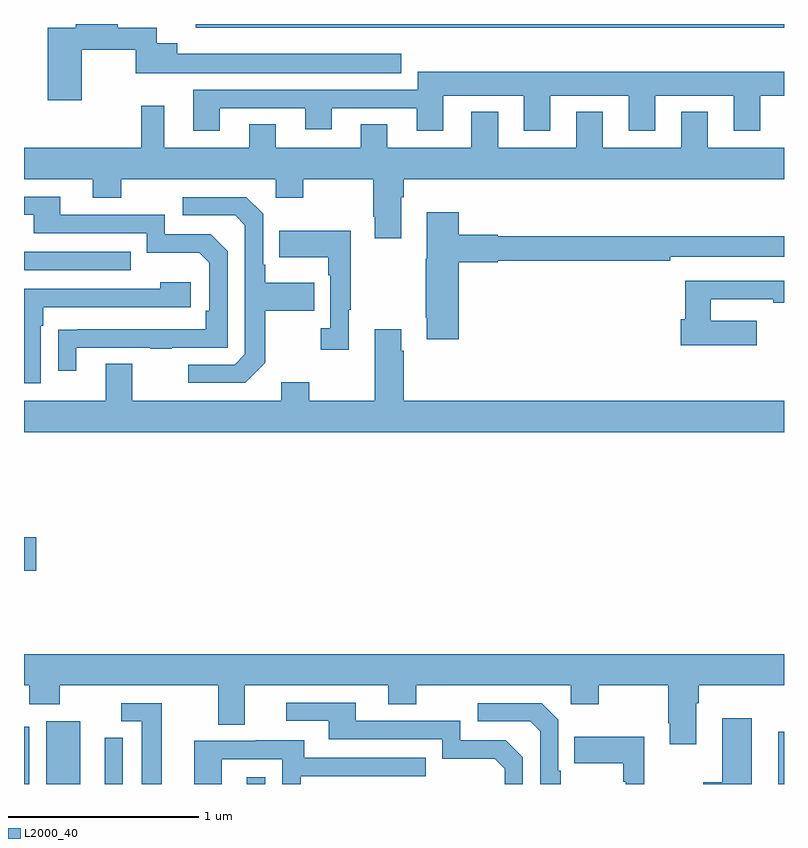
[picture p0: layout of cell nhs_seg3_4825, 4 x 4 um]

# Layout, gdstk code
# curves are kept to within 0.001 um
import gdstk
lib = gdstk.Library(unit=1e-6, precision=1e-09)
def R(c, l, rs):  # rectangles x0, y0, x1, y1
    for r in rs: c.add(gdstk.rectangle(r[:2], r[2:], *l))
def P(c, l, *ps):  # polygons
    for p in ps: c.add(gdstk.Polygon(p, *l))
L2000_40 = (2000, 40)

nhs_seg3_4825 = lib.new_cell('nhs_seg3_4825')
R(nhs_seg3_4825, L2000_40, [(371,696.4,371.028,696.702), (371.117,696.4,371.296,696.73), (372.173,696.4,372.27,696.436), (374.969,696.4,375,696.676), (371,697.522,371.065,697.7), (371,699.105,371.561,699.201), (371.903,700.379,375,700.4)])
P(nhs_seg3_4825, L2000_40, [(371.304,700.264),(371.589,700.264),(371.589,700.142),(372.985,700.142),(372.985,700.243),(371.806,700.243),(371.806,700.3),(371.699,700.3),(371.699,700.38),(371.494,700.38),(371.494,700.4),(371.272,700.4),(371.272,700.38),(371.126,700.38),(371.126,699.999),(371.304,699.999)],
  [(372.031,699.957),(372.479,699.957),(372.479,699.845),(372.619,699.845),(372.619,699.957),(373.067,699.957),(373.067,699.837),(373.207,699.837),(373.207,700.022),(373.631,700.022),(373.631,699.837),(373.771,699.837),(373.771,700.022),(374.183,700.022),(374.183,699.837),(374.323,699.837),(374.323,700.022),(374.735,700.022),(374.735,699.837),(374.875,699.837),(374.875,700.022),(375,700.022),(375,700.15),(373.073,700.15),(373.073,700.053),(371.891,700.053),(371.891,699.837),(372.031,699.837)],
  [(372.985,699.488),(372.998,699.488),(372.998,699.584),(375,699.584),(375,699.748),(374.599,699.748),(374.599,699.937),(374.459,699.937),(374.459,699.748),(374.047,699.748),(374.047,699.937),(373.907,699.937),(373.907,699.748),(373.495,699.748),(373.495,699.937),(373.355,699.937),(373.355,699.748),(372.913,699.748),(372.913,699.872),(372.773,699.872),(372.773,699.748),(372.325,699.748),(372.325,699.872),(372.185,699.872),(372.185,699.748),(371.737,699.748),(371.737,699.97),(371.616,699.97),(371.616,699.748),(371,699.748),(371,699.584),(371.363,699.584),(371.363,699.485),(371.511,699.485),(371.511,699.584),(372.324,699.584),(372.324,699.485),(372.471,699.485),(372.471,699.584),(372.838,699.584),(372.838,699.385),(372.845,699.385),(372.845,699.273),(372.985,699.273)],
  [(371.275,698.697),(371.665,698.697),(371.665,698.692),(371.777,698.692),(371.777,698.697),(372.072,698.697),(372.072,699.204),(371.982,699.294),(371.742,699.294),(371.742,699.396),(371.191,699.396),(371.191,699.492),(371,699.492),(371,699.396),(371.051,699.396),(371.051,699.3),(371.646,699.3),(371.646,699.197),(371.923,699.197),(371.976,699.144),(371.976,698.89),(371.956,698.89),(371.956,698.793),(371.179,698.792),(371.179,698.574),(371.275,698.574)],
  [(372.271,698.617),(372.271,698.89),(372.527,698.89),(372.527,699.037),(372.271,699.037),(372.271,699.133),(372.258,699.133),(372.258,699.402),(372.171,699.489),(371.835,699.489),(371.835,699.393),(372.111,699.393),(372.162,699.342),(372.162,698.661),(372.108,698.607),(371.865,698.607),(371.865,698.511),(372.165,698.511)],
  [(373.289,699.146),(373.494,699.146),(373.494,699.154),(374.402,699.154),(374.402,699.174),(375,699.174),(375,699.283),(373.494,699.283),(373.494,699.291),(373.289,699.291),(373.289,699.409),(373.121,699.409),(373.121,699.165),(373.114,699.165),(373.114,698.854),(373.121,698.854),(373.121,698.742),(373.289,698.742)],
  [(372.709,698.897),(372.721,698.897),(372.721,699.313),(372.343,699.313),(372.343,699.173),(372.6,699.173),(372.6,699.077),(372.612,699.077),(372.612,698.798),(372.561,698.798),(372.561,698.685),(372.709,698.685)],
  [(374.857,698.839),(374.615,698.839),(374.615,698.952),(374.944,698.952),(374.944,698.932),(375,698.932),(375,699.048),(374.479,699.048),(374.479,698.847),(374.456,698.847),(374.456,698.71),(374.857,698.71)],
  [(371.088,698.813),(371.101,698.813),(371.101,698.91),(371.878,698.91),(371.878,699.04),(371.717,699.04),(371.717,699.006),(371,699.006),(371,698.508),(371.088,698.508)],
  [(375,698.416),(372.998,698.416),(372.998,698.681),(372.985,698.681),(372.985,698.794),(372.845,698.794),(372.845,698.416),(372.501,698.416),(372.501,698.515),(372.353,698.515),(372.353,698.416),(371.569,698.416),(371.569,698.611),(371.429,698.611),(371.429,698.416),(371,698.416),(371,698.252),(375,698.252)],
  [(374.539,696.824),(374.552,696.824),(374.552,696.92),(375,696.92),(375,697.084),(371,697.084),(371,696.92),(371.027,696.92),(371.027,696.821),(371.187,696.821),(371.187,696.92),(372.023,696.92),(372.023,696.712),(372.163,696.712),(372.163,696.92),(372.917,696.92),(372.917,696.821),(373.065,696.821),(373.065,696.92),(373.878,696.92),(373.878,696.821),(374.025,696.821),(374.025,696.92),(374.392,696.92),(374.392,696.721),(374.399,696.721),(374.399,696.609),(374.539,696.609)],
  [(373.626,696.54),(373.536,696.63),(373.296,696.63),(373.296,696.732),(372.745,696.732),(372.745,696.828),(372.381,696.828),(372.381,696.732),(372.605,696.732),(372.605,696.636),(373.2,696.636),(373.2,696.533),(373.477,696.533),(373.53,696.48),(373.53,696.4),(373.626,696.4)],
  [(373.825,696.469),(373.812,696.469),(373.812,696.738),(373.725,696.825),(373.389,696.825),(373.389,696.729),(373.665,696.729),(373.716,696.678),(373.716,696.4),(373.825,696.4)],
  [(371.725,696.825),(371.511,696.825),(371.511,696.729),(371.621,696.729),(371.621,696.4),(371.725,696.4)],
  [(374.83,696.745),(374.675,696.745),(374.675,696.41),(374.576,696.41),(374.576,696.4),(374.83,696.4)],
  [(374.264,696.649),(373.897,696.649),(373.897,696.509),(374.154,696.509),(374.154,696.413),(374.166,696.413),(374.166,696.4),(374.264,696.4)],
  [(371.52,696.644),(371.424,696.644),(371.424,696.49),(371.426,696.49),(371.426,696.4),(371.52,696.4)],
  [(372.042,696.531),(372.36,696.531),(372.36,696.4),(372.456,696.4),(372.456,696.441),(373.115,696.441),(373.115,696.537),(372.475,696.537),(372.475,696.631),(372.221,696.631),(372.221,696.627),(371.897,696.627),(371.897,696.4),(372.042,696.4)])

lib.write_gds('nhs_seg3_4825.gds')
